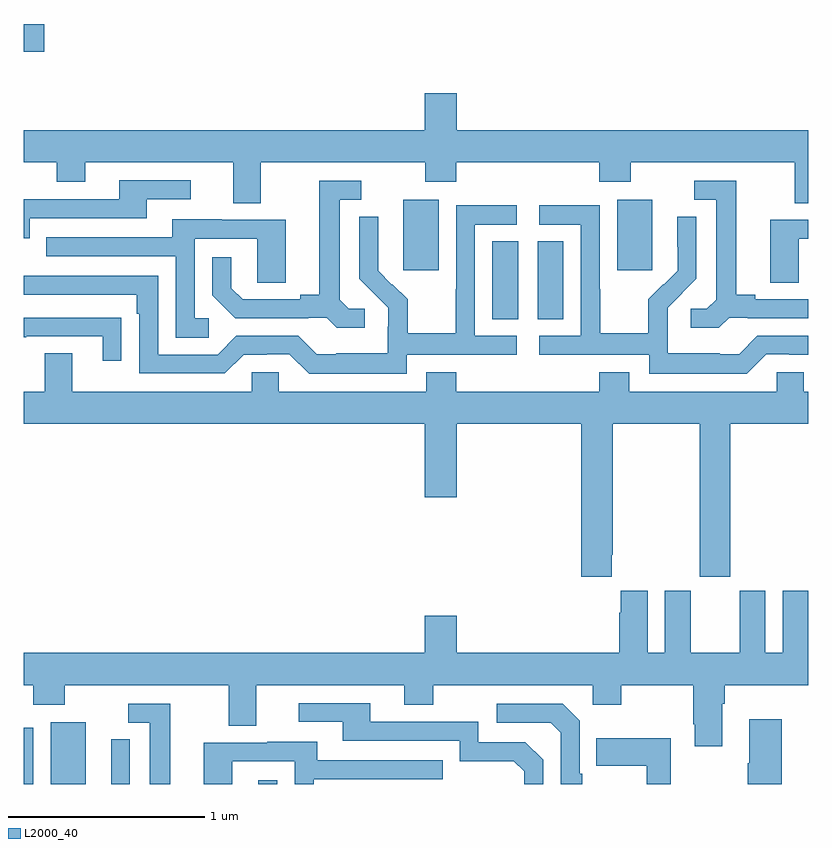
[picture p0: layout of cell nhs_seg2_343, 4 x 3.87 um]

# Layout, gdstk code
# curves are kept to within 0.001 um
import gdstk
lib = gdstk.Library(unit=1e-6, precision=1e-09)
def R(c, l, rs):  # rectangles x0, y0, x1, y1
    for r in rs: c.add(gdstk.rectangle(r[:2], r[2:], *l))
def P(c, l, *ps):  # polygons
    for p in ps: c.add(gdstk.Polygon(p, *l))
L2000_40 = (2000, 40)

nhs_seg2_343 = lib.new_cell('nhs_seg2_343')
R(nhs_seg2_343, L2000_40, [(127,645.8,127.05,646.086), (127.139,645.8,127.318,646.114), (128.195,645.8,128.292,645.82), (129.389,648.169,129.52,648.566), (129.62,648.169,129.751,648.566), (128.936,648.417,129.115,648.778), (130.025,648.417,130.204,648.778), (127,649.531,127.105,649.673)])
P(nhs_seg2_343, L2000_40, [(128.209,648.968),(129.046,648.968),(129.046,648.869),(129.206,648.869),(129.206,648.968),(129.935,648.968),(129.935,648.869),(130.095,648.869),(130.095,648.968),(130.931,648.968),(130.931,648.76),(131,648.76),(131,649.132),(129.208,649.132),(129.208,649.321),(129.044,649.321),(129.044,649.132),(127,649.132),(127,648.968),(127.168,648.968),(127.168,648.869),(127.315,648.869),(127.315,648.968),(128.069,648.968),(128.069,648.76),(128.209,648.76)],
  [(127.032,648.684),(127.627,648.684),(127.627,648.78),(127.852,648.78),(127.852,648.876),(127.487,648.876),(127.487,648.78),(127,648.78),(127,648.581),(127.032,648.581)],
  [(130.596,648.177),(130.69,648.177),(130.69,648.174),(131,648.174),(131,648.27),(130.729,648.27),(130.729,648.293),(130.633,648.293),(130.633,648.873),(130.419,648.873),(130.419,648.777),(130.529,648.777),(130.529,648.269),(130.482,648.222),(130.401,648.222),(130.401,648.125),(130.544,648.125)],
  [(128.739,648.222),(128.658,648.222),(128.611,648.269),(128.611,648.777),(128.722,648.777),(128.722,648.873),(128.507,648.873),(128.507,648.293),(128.411,648.293),(128.411,648.27),(128.116,648.27),(128.059,648.327),(128.059,648.484),(127.962,648.484),(127.962,648.29),(128.078,648.174),(128.45,648.174),(128.45,648.177),(128.544,648.177),(128.596,648.125),(128.739,648.125)],
  [(130.785,647.991),(130.901,647.991),(130.901,647.988),(131,647.988),(131,648.084),(130.74,648.084),(130.647,647.991),(130.547,647.991),(130.547,647.995),(130.284,647.995),(130.284,648.129),(130.282,648.129),(130.282,648.226),(130.428,648.374),(130.428,648.692),(130.332,648.692),(130.332,648.538),(130.334,648.538),(130.334,648.416),(130.263,648.345),(130.26,648.348),(130.183,648.271),(130.183,648.097),(129.939,648.097),(129.939,648.32),(129.936,648.32),(129.936,648.75),(129.627,648.75),(129.627,648.651),(129.84,648.651),(129.84,648.084),(129.627,648.084),(129.627,647.988),(130.188,647.988),(130.188,647.891),(130.685,647.891)],
  [(128.952,647.988),(129.514,647.988),(129.514,648.084),(129.3,648.084),(129.3,648.651),(129.514,648.651),(129.514,648.75),(129.204,648.75),(129.204,648.32),(129.202,648.32),(129.202,648.097),(128.957,648.097),(128.957,648.271),(128.88,648.348),(128.877,648.345),(128.807,648.416),(128.808,648.692),(128.712,648.692),(128.712,648.374),(128.858,648.226),(128.858,648.129),(128.856,648.129),(128.856,647.995),(128.593,647.995),(128.593,647.991),(128.493,647.991),(128.4,648.084),(128.085,648.084),(127.989,647.988),(127.686,647.988),(127.686,648.39),(127,648.39),(127,648.294),(127.577,648.294),(127.577,648.197),(127.59,648.197),(127.59,647.892),(128.025,647.892),(128.121,647.988),(128.239,647.988),(128.239,647.991),(128.355,647.991),(128.455,647.891),(128.952,647.891)],
  [(127.945,648.174),(127.872,648.174),(127.872,648.579),(128.19,648.579),(128.19,648.355),(128.335,648.355),(128.335,648.675),(128.011,648.675),(128.011,648.679),(127.757,648.679),(127.757,648.585),(127.117,648.585),(127.117,648.489),(127.776,648.489),(127.776,648.073),(127.945,648.073)],
  [(130.95,648.579),(131,648.579),(131,648.675),(130.805,648.675),(130.805,648.355),(130.95,648.355)],
  [(127.499,648.176),(127.397,648.176),(127.397,648.177),(127,648.177),(127,648.076),(127.013,648.076),(127.013,648.081),(127.403,648.081),(127.403,647.958),(127.499,647.958)],
  [(129.997,646.969),(130.002,646.969),(130.002,647.636),(130.447,647.636),(130.447,646.857),(130.602,646.857),(130.602,647.636),(131,647.636),(131,647.8),(130.977,647.8),(130.977,647.898),(130.839,647.898),(130.839,647.8),(130.087,647.8),(130.087,647.899),(129.935,647.899),(129.935,647.8),(129.206,647.8),(129.206,647.899),(129.053,647.899),(129.053,647.8),(128.301,647.8),(128.301,647.898),(128.163,647.898),(128.163,647.8),(127.249,647.8),(127.249,647.995),(127.109,647.995),(127.109,647.8),(127,647.8),(127,647.636),(129.044,647.636),(129.044,647.262),(129.208,647.262),(129.208,647.636),(129.842,647.636),(129.842,646.857),(129.997,646.857)],
  [(130.561,646.208),(130.574,646.208),(130.574,646.304),(131,646.304),(131,646.468),(130.999,646.468),(130.999,646.786),(130.868,646.786),(130.868,646.468),(130.78,646.468),(130.78,646.786),(130.649,646.786),(130.649,646.468),(130.399,646.468),(130.399,646.786),(130.268,646.786),(130.268,646.468),(130.18,646.468),(130.18,646.786),(130.043,646.786),(130.043,646.673),(130.037,646.673),(130.037,646.468),(129.208,646.468),(129.208,646.657),(129.044,646.657),(129.044,646.468),(127,646.468),(127,646.304),(127.049,646.304),(127.049,646.205),(127.209,646.205),(127.209,646.304),(128.045,646.304),(128.045,646.096),(128.185,646.096),(128.185,646.304),(128.939,646.304),(128.939,646.205),(129.087,646.205),(129.087,646.304),(129.9,646.304),(129.9,646.205),(130.047,646.205),(130.047,646.304),(130.414,646.304),(130.414,646.105),(130.421,646.105),(130.421,645.993),(130.561,645.993)],
  [(129.648,645.924),(129.558,646.014),(129.318,646.014),(129.318,646.116),(128.767,646.116),(128.767,646.212),(128.403,646.212),(128.403,646.116),(128.627,646.116),(128.627,646.02),(129.222,646.02),(129.222,645.917),(129.499,645.917),(129.552,645.864),(129.552,645.8),(129.648,645.8)],
  [(127.747,646.209),(127.533,646.209),(127.533,646.113),(127.643,646.113),(127.643,645.8),(127.747,645.8)],
  [(129.847,645.853),(129.834,645.853),(129.834,646.122),(129.747,646.209),(129.411,646.209),(129.411,646.113),(129.687,646.113),(129.738,646.062),(129.738,645.8),(129.847,645.8)],
  [(130.864,646.129),(130.697,646.129),(130.697,645.905),(130.69,645.905),(130.69,645.8),(130.864,645.8)],
  [(130.297,646.033),(129.919,646.033),(129.919,645.893),(130.176,645.893),(130.176,645.8),(130.297,645.8)],
  [(127.542,646.028),(127.446,646.028),(127.446,645.874),(127.448,645.874),(127.448,645.8),(127.542,645.8)],
  [(128.064,645.915),(128.382,645.915),(128.382,645.8),(128.478,645.8),(128.478,645.825),(129.137,645.825),(129.137,645.921),(128.497,645.921),(128.497,646.015),(128.243,646.015),(128.243,646.011),(127.919,646.011),(127.919,645.8),(128.064,645.8)])

lib.write_gds('nhs_seg2_343.gds')
